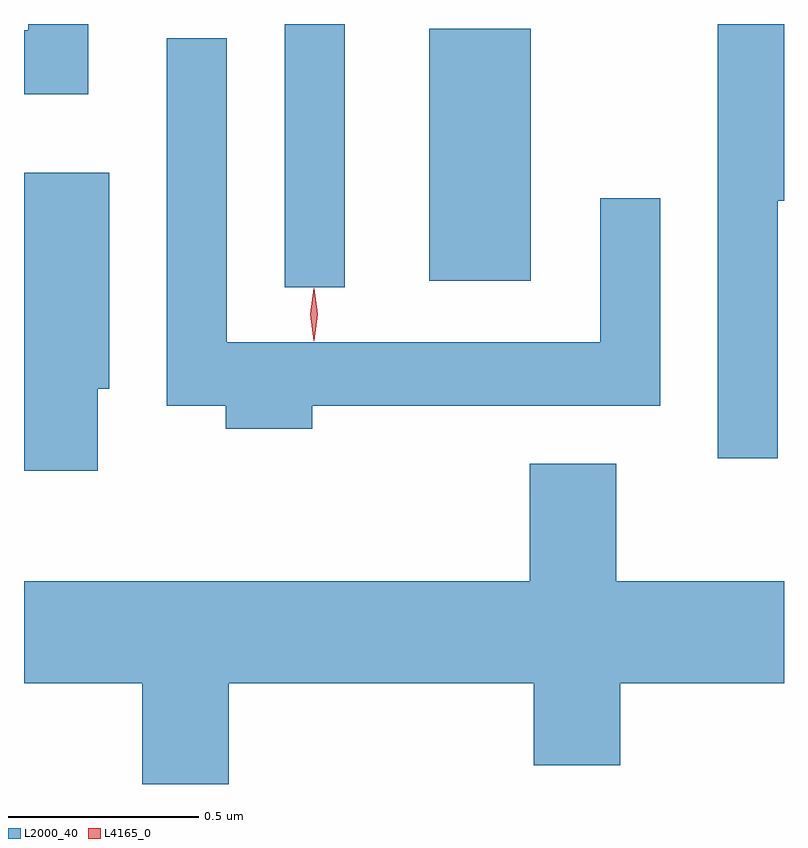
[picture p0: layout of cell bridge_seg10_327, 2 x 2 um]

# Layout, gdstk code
import gdstk
lib = gdstk.Library(unit=1e-6, precision=1e-09)
def R(c, l, rs):  # rectangles x0, y0, x1, y1
    for r in rs: c.add(gdstk.rectangle(r[:2], r[2:], *l))
def P(c, l, *ps):  # polygons
    for p in ps: c.add(gdstk.Polygon(p, *l))
L2000_40 = (2000, 40)
L4165_0 = (4165, 0)

bridge_seg10_327 = lib.new_cell('bridge_seg10_327')
R(bridge_seg10_327, L2000_40, [(1409.606,2188.218,1409.764,2188.911), (1409.986,2188.236,1410.254,2188.899)])
P(bridge_seg10_327, L2000_40, [(1410.904,2188.446),(1410.92,2188.446),(1410.92,2188.911),(1410.746,2188.911),(1410.746,2187.768),(1410.904,2187.768)],
  [(1409.089,2188.911),(1408.931,2188.911),(1408.931,2188.894),(1408.92,2188.894),(1408.92,2188.726),(1409.089,2188.726)],
  [(1409.679,2187.906),(1410.594,2187.906),(1410.594,2188.453),(1410.436,2188.453),(1410.436,2188.074),(1409.454,2188.074),(1409.454,2188.873),(1409.296,2188.873),(1409.296,2187.906),(1409.451,2187.906),(1409.451,2187.846),(1409.679,2187.846)],
  [(1409.114,2187.951),(1409.144,2187.951),(1409.144,2188.519),(1408.92,2188.519),(1408.92,2187.736),(1409.114,2187.736)],
  [(1409.459,2187.176),(1410.261,2187.176),(1410.261,2186.961),(1410.489,2186.961),(1410.489,2187.176),(1410.92,2187.176),(1410.92,2187.444),(1410.479,2187.444),(1410.479,2187.754),(1410.251,2187.754),(1410.251,2187.444),(1408.92,2187.444),(1408.92,2187.176),(1409.231,2187.176),(1409.231,2186.911),(1409.459,2186.911)])
P(bridge_seg10_327, L4165_0, [(1409.682,2188.077),(1409.673,2188.147),(1409.682,2188.216),(1409.683,2188.216),(1409.684,2188.216),(1409.693,2188.147),(1409.684,2188.077),(1409.683,2188.077)])

lib.write_gds('bridge_seg10_327.gds')
